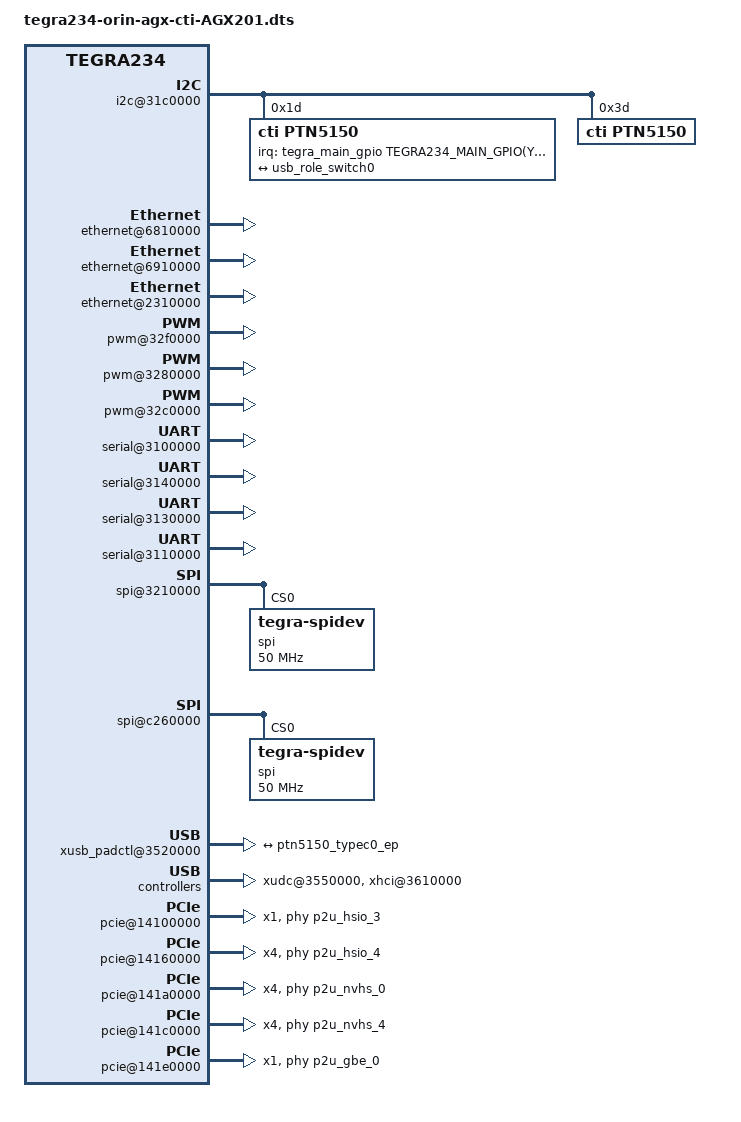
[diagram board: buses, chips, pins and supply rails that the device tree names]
/*
 * Copyright (c) 2023, Connect Tech Inc.  All rights reserved.
 *
 * This program is free software; you can redistribute it and/or modify it
 * under the terms and conditions of the GNU General Public License,
 * version 2, as published by the Free Software Foundation.
 *
 * This program is distributed in the hope it will be useful, but WITHOUT
 * ANY WARRANTY; without even the implied warranty of MERCHANTABILITY or
 * FITNESS FOR A PARTICULAR PURPOSE.  See the GNU General Public License for
 * more details.
 *
 * You should have received a copy of the GNU General Public License
 * along with this program.  If not, see <http://www.gnu.org/licenses/>.
 */

#include "tegra234-orin-agx-cti-base.dtsi"

/{
    nvidia,dtsfilename = "tegra234-orin-agx-cti-AGX201.dts";

    //I2C7
    i2c@31c0000{
        status = "okay";
        //Dual Role Port USB Controller
        ptn5150@1d{
            reg = <0x1d>;
            compatible = "cti,ptn5150";
            status = "okay";
            interrupt-parent = <&tegra_main_gpio>;
            interrupts = <TEGRA234_MAIN_GPIO(Y, 4) IRQ_TYPE_LEVEL_LOW>;

            connector@0 {
                compatible = "usb-c-connector";
                label = "USB-C";
                data-role = "dual";

                //Supported Advertised Current Modes: "default" (900mA), "1.5A", "3.0A"
                power-opmode = "3.0A";
                port {
                    ptn5150_typec0_ep: endpoint {
                        remote-endpoint = <&usb_role_switch0>;
                    };
                };
            };
        };

        //Host Port USB Controller
        ptn5150@3d{
            reg = <0x3d>;
            compatible = "cti,ptn5150";
            status = "okay";

            connector@0 {
                compatible = "usb-c-connector";
                label = "USB-C";
                data-role = "host";
                power-opmode = "3.0A";
            };
        };

    };

    //MBGE0
    ethernet@6810000 {
        status = "okay";
    };

    //MBGE1
    ethernet@6910000 {
        status = "okay";
    };

    //1G
    ethernet@2310000 {
        status = "okay";
    };

    //PWM8 (PWM01)
    pwm@32f0000 {
        status = "okay";
    };

    //PWM1 (PWM02)
    pwm@3280000 {
        status = "okay";
    };

    //PWM5 (PWM03)
    pwm@32c0000 {
        status = "okay";
    };

    //UART_1
    serial@3100000 {
        status = "okay";
    };

    //UART_2
    serial@3140000{
        status = "okay";
    };

    //UART_4
    serial@3130000 {
        status = "okay";
    };

    //UART_5
    serial@3110000 {
        status = "okay";
    };

    //CAN0
    mttcan@c310000 {
        status = "okay";
    };

    //CAN1
    mttcan@c320000 {
        status = "okay";
    };

    //SPI_1
    spi@3210000 {
        status = "okay";
        spi@0 { /* chip select 0 */
            compatible = "tegra-spidev";
            reg = <0x0>;
            spi-max-frequency = <50000000>;
            controller-data {
                nvidia,enable-hw-based-cs;
                nvidia,rx-clk-tap-delay = <0x10>;
                nvidia,tx-clk-tap-delay = <0x0>;
            };
        };
    };

    //SPI_2
    spi@c260000 {
        status = "okay";
        spi@0 { /* chip select 0 */
            compatible = "tegra-spidev";
            reg = <0x0>;
            spi-max-frequency = <50000000>;
            controller-data {
                nvidia,enable-hw-based-cs;
                nvidia,rx-clk-tap-delay = <0x10>;
                nvidia,tx-clk-tap-delay = <0x0>;
            };
        };
    };

    xusb_padctl@3520000 {
        status = "okay";
        pads {
            usb2 {
                lanes {
                    usb2-0 {
                        status = "okay";
                    };
                    usb2-1 {
                        status = "okay";
                    };
                    usb2-2 {
                        status = "okay";
                    };
                    usb2-3 {
                        status = "okay";
                    };
                };
            };
            usb3 {
                lanes {
                    usb3-0 {
                        status = "okay";
                    };
                    usb3-1 {
                        status = "okay";
                    };
                    usb3-2 {
                        status = "okay";
                    };
                };
            };
        };
        ports {

            usb2-0 {
                mode = "otg";
                usb-role-switch;
                status = "okay";
                port {
                    usb_role_switch0: endpoint {
                        remote-endpoint = <&ptn5150_typec0_ep>;
                    };
                };
            };

            usb2-1 {
                mode = "host";
                status = "okay";
            };
            usb2-2 {
                mode = "host";
                status = "okay";
            };
            usb2-3 {
                mode = "host";
                status = "okay";
            };

            usb3-0 {
                nvidia,usb2-companion = <1>;
                status = "okay";
            };
            usb3-1 {
                nvidia,usb2-companion = <0>;
                status = "okay";
            };
            usb3-2 {
                nvidia,usb2-companion = <3>;
                status = "okay";
            };
        };
    };

    xudc@3550000 {
        status = "okay";
        phys =  <&{/xusb_padctl@3520000/pads/usb2/lanes/usb2-0}>,
                <&{/xusb_padctl@3520000/pads/usb3/lanes/usb3-1}>;
        phy-names = "usb2-0", "usb3-1";
    };

    xhci@3610000 {
        status = "okay";
        phys =  <&{/xusb_padctl@3520000/pads/usb2/lanes/usb2-0}>,
                <&{/xusb_padctl@3520000/pads/usb2/lanes/usb2-1}>,
                <&{/xusb_padctl@3520000/pads/usb2/lanes/usb2-2}>,
                <&{/xusb_padctl@3520000/pads/usb2/lanes/usb2-3}>,
                <&{/xusb_padctl@3520000/pads/usb3/lanes/usb3-0}>,
                <&{/xusb_padctl@3520000/pads/usb3/lanes/usb3-1}>,
                <&{/xusb_padctl@3520000/pads/usb3/lanes/usb3-2}>;
        phy-names = "usb2-0", "usb2-1", "usb2-2", "usb2-3",
                    "usb3-0", "usb3-1", "usb3-2";
    };

    //PCIe C1
    pcie@14100000 {
        status = "okay";
        num-lanes = <1>;
        phys = <&p2u_hsio_3>;
        phy-names = "p2u-0";
    };

    //PCIe C4
    pcie@14160000 {
        status = "okay";
        num-lanes = <4>;
        phys = <&p2u_hsio_4>, <&p2u_hsio_5>, <&p2u_hsio_6>, <&p2u_hsio_7>;
        phy-names = "p2u-0", "p2u-1", "p2u-2", "p2u-3";
    };

    //PCIe C5
    pcie@141a0000 {
        status = "okay";
        num-lanes = <4>;
        phys = <&p2u_nvhs_0>, <&p2u_nvhs_1>, <&p2u_nvhs_2>, <&p2u_nvhs_3>;
        phy-names = "p2u-0", "p2u-1", "p2u-2", "p2u-3";
    };

    pcie_ep@141a0000 {
        status = "disabled";
        num-lanes = <4>;
        phys = <&p2u_nvhs_0>, <&p2u_nvhs_1>, <&p2u_nvhs_2>, <&p2u_nvhs_3>;
        phy-names = "p2u-0", "p2u-1", "p2u-2", "p2u-3";

        reset-gpios = <&tegra_main_gpio TEGRA234_MAIN_GPIO(AF, 1) GPIO_ACTIVE_LOW>;

        nvidia,refclk-select-gpios = <&tegra_aon_gpio TEGRA234_AON_GPIO(AA, 4) GPIO_ACTIVE_HIGH>;
    };

    //PCIe C6
    pcie@141c0000{
        status = "okay";
        num-lanes = <4>;
        phys = <&p2u_nvhs_4>, <&p2u_nvhs_5>, <&p2u_nvhs_6>, <&p2u_nvhs_7>;
        phy-names = "p2u-0", "p2u-1", "p2u-2", "p2u-3";
    };

    //PCIe C7
    pcie@141e0000 {
        status = "okay";
        num-lanes = <1>;
        phys = <&p2u_gbe_0>;
        phy-names = "p2u-0";
    };

};

